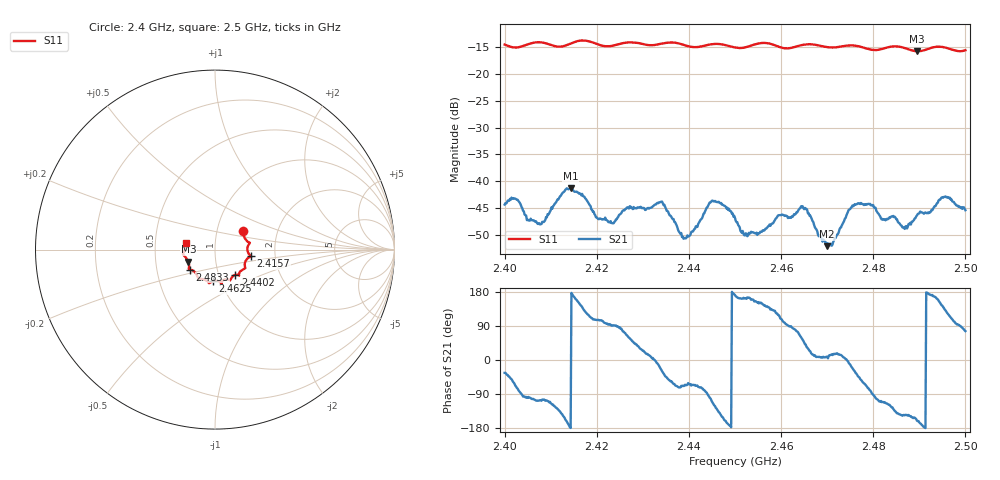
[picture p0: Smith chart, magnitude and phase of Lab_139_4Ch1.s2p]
# Hz S RI R 50
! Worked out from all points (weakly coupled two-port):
!   601 points, 2.4 GHz to 2.5 GHz, reference 50 ohm
!   highest |S21| = -41.25 dB at 2.4143 GHz (marker M1); lowest = -52.1 dB at 2.47 GHz (marker M2)
!   lowest |S11| = -15.7 dB at 2.4895 GHz (marker M3), VSWR 1.39, Z = 36.8 - j5.1 ohm
!   |S11| at or under -10 dB: start of sweep to end of sweep
!   S12 and S22 are empty: the file has one direction only
!   S11 on the Smith chart (normalised r, x): 2.4 GHz: 1.33, +0.29; 2.4157 GHz: 1.49, -0.12; 2.4402 GHz: 1.20, -0.35; 2.4625 GHz: 0.92, -0.34; 2.4833 GHz: 0.74, -0.17; 2.5 GHz: 0.72, +0.06
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2.4e9  0.1565 0.1054  0.00502 -0.00337  0 0  0 0
2.4025e9  0.1638 0.0674  0.00229 -0.0064  0 0  0 0
2.407667e9  0.1947 0.0379  -0.0011 -0.0038  0 0  0 0
2.414333e9  0.1909 -0.0281  -0.00866 -7.91e-05  0 0  0 0
2.415667e9  0.1992 -0.037  -0.0074 0.003  0 0  0 0
2.416667e9  0.2021 -0.04  -0.00584 0.00449  0 0  0 0
2.423167e9  0.1658 -0.0775  -6.08e-05 0.00407  0 0  0 0
2.433333e9  0.1344 -0.134  0.0061 -0.00127  0 0  0 0
2.440167e9  0.1141 -0.1404  0.00134 -0.00281  0 0  0 0
2.445e9  0.0854 -0.17  -0.00223 -0.00619  0 0  0 0
2.45e9  0.0636 -0.1657  -0.00448 0.000688  0 0  0 0
2.452333e9  0.0427 -0.1731  -0.00312 0.000971  0 0  0 0
2.4625e9  -0.0108 -0.1768  0.000457 0.00462  0 0  0 0
2.464667e9  -0.029 -0.185  0.00341 0.00473  0 0  0 0
2.466667e9  -0.0337 -0.1869  0.00424 0.00121  0 0  0 0
2.47e9  -0.0483 -0.1717  0.00245 0.00036  0 0  0 0
2.476333e9  -0.0942 -0.1577  0.00491 -0.00358  0 0  0 0
2.483333e9  -0.1398 -0.1112  -0.00209 -0.00395  0 0  0 0
2.486833e9  -0.1447 -0.0986  -0.00296 -0.00202  0 0  0 0
2.4895e9  -0.1485 -0.0675  -0.00452 -0.00161  0 0  0 0
2.495333e9  -0.177 -0.0189  -0.00522 0.00484  0 0  0 0
2.5e9  -0.1628 0.0373  0.00127 0.00521  0 0  0 0
